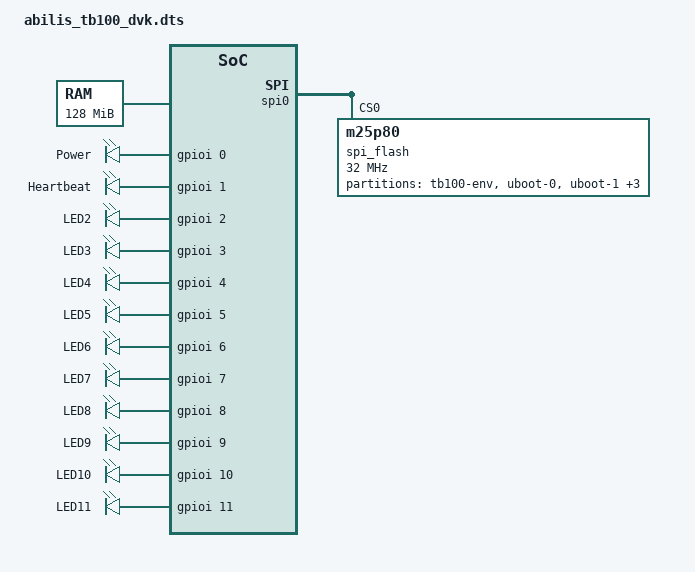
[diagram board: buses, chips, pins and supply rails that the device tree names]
/*
 * Abilis Systems TB100 Development Kit PCB device tree
 *
 * Copyright (C) Abilis Systems 2013
 *
 * Author: Christian Ruppert <christian.ruppert@abilis.com>
 *
 * This program is free software; you can redistribute it and/or modify
 * it under the terms of the GNU General Public License version 2 as
 * published by the Free Software Foundation.
 *
 * This program is distributed in the hope that it will be useful,
 * but WITHOUT ANY WARRANTY; without even the implied warranty of
 * MERCHANTABILITY or FITNESS FOR A PARTICULAR PURPOSE.  See the
 * GNU General Public License for more details.
 *
 * You should have received a copy of the GNU General Public License
 * along with this program; if not, write to the Free Software
 * Foundation, Inc., 59 Temple Place, Suite 330, Boston, MA  02111-1307 USA
 */

/dts-v1/;

/include/ "abilis_tb100.dtsi"

/ {
	chosen {
		bootargs = "earlycon=uart8250,mmio32,0xff100000,9600n8 console=ttyS0,9600n8";
	};

	aliases { };

	memory {
		device_type = "memory";
		reg = <0x80000000 0x08000000>;	/* 128M */
	};

	soc100 {
		uart@FF100000 {
			pinctrl-names = "default";
			pinctrl-0 = <&pctl_uart0>;
		};
		ethernet@FE100000 {
			phy-mode = "rgmii";
		};

		spi0: spi@0xFE010000 {
			spi_flash@0 {
				#address-cells = <1>;
				#size-cells = <1>;
				compatible = "m25p80";
				reg = <0>;
				spi-max-frequency = <32000000>;
				spi-cpol;
				spi-cpha;

				partition@0 {
					label = "tb100-env";
					reg = <0x0 0x10000>;
				};
				partition@10000 {
					label = "uboot-0";
					reg = <0x10000 0x30000>;
				};
				partition@40000 {
					label = "uboot-1";
					reg = <0x40000 0x40000>;
				};
				partition@080000 {
					label = "uimage-0";
					reg = <0x080000 0xC00000>;
				};
				partition@C80000 {
					label = "uimage-1";
					reg = <0xC80000 0xC00000>;
				};
				partition@1880000 {
					label = "userdata";
					reg = <0x1880000 0x780000>;
				};
			};
		};

		i2c0: i2c@FF120000 {
			i2c-sda-hold-time-ns = <432>;
		};
		i2c1: i2c@FF121000 {
			i2c-sda-hold-time-ns = <432>;
		};
		i2c2: i2c@FF122000 {
			i2c-sda-hold-time-ns = <432>;
		};
		i2c3: i2c@FF123000 {
			i2c-sda-hold-time-ns = <432>;
		};
		i2c4: i2c@FF124000 {
			i2c-sda-hold-time-ns = <432>;
		};

		leds {
			compatible = "gpio-leds";
			power {
				label = "Power";
				gpios = <&gpioi 0>;
				linux,default-trigger = "default-on";
			};
			heartbeat {
				label = "Heartbeat";
				gpios = <&gpioi 1>;
				linux,default-trigger = "heartbeat";
			};
			led2 {
				label = "LED2";
				gpios = <&gpioi 2>;
				default-state = "off";
			};
			led3 {
				label = "LED3";
				gpios = <&gpioi 3>;
				default-state = "off";
			};
			led4 {
				label = "LED4";
				gpios = <&gpioi 4>;
				default-state = "off";
			};
			led5 {
				label = "LED5";
				gpios = <&gpioi 5>;
				default-state = "off";
			};
			led6 {
				label = "LED6";
				gpios = <&gpioi 6>;
				default-state = "off";
			};
			led7 {
				label = "LED7";
				gpios = <&gpioi 7>;
				default-state = "off";
			};
			led8 {
				label = "LED8";
				gpios = <&gpioi 8>;
				default-state = "off";
			};
			led9 {
				label = "LED9";
				gpios = <&gpioi 9>;
				default-state = "off";
			};
			led10 {
				label = "LED10";
				gpios = <&gpioi 10>;
				default-state = "off";
			};
			led11 {
				label = "LED11";
				gpios = <&gpioi 11>;
				default-state = "off";
			};
		};
	};
};
